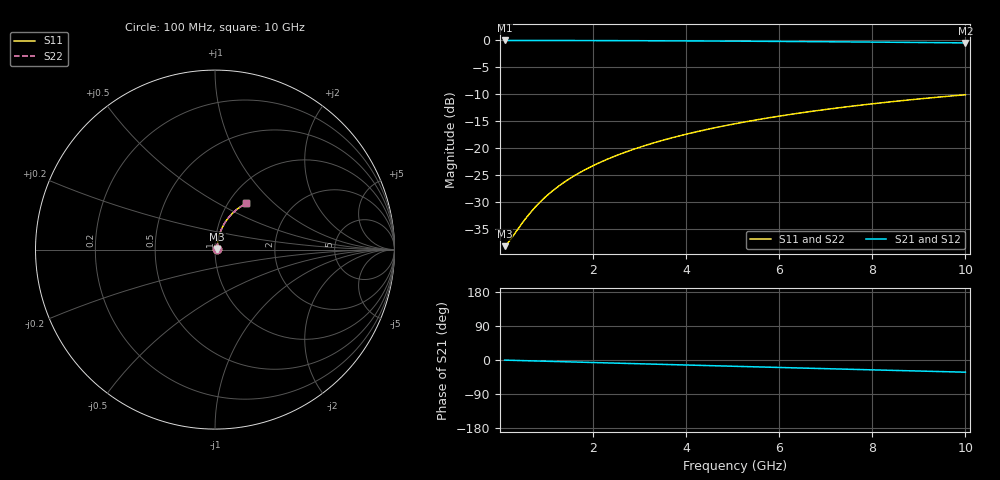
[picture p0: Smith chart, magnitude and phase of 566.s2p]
# Hz S RI R 50.00
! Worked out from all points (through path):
!   100 points, 100 MHz to 10 GHz, reference 50 ohm
!   highest |S21| = -0.10 dB at 100 MHz (marker M1); lowest = -0.6 dB at 10 GHz (marker M2)
!   group delay of S21, straight-line fit = 8.95 ps
!   lowest |S11| = -38.1 dB at 100 MHz (marker M3), VSWR 1.03, Z = 51.2 + j0.34 ohm
!   |S11| at or under -10 dB: start of sweep to end of sweep
!   |S22| runs from -38.1 to -10.1 dB; largest |S21 - S12| = 0
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1e8  0.0119 0.00332  0.9881 -0.00573  0.9881 -0.00573  0.0119 0.00332
2e8  0.0121 0.00664  0.9879 -0.0115  0.9879 -0.0115  0.0121 0.00664
5e8  0.0126 0.0166  0.9873 -0.0286  0.9873 -0.0286  0.0126 0.0166
6e8  0.0129 0.0199  0.987 -0.0344  0.987 -0.0344  0.0129 0.0199
7e8  0.0131 0.0232  0.9867 -0.0401  0.9867 -0.0401  0.0131 0.0232
9e8  0.0138 0.0298  0.9859 -0.0515  0.9859 -0.0515  0.0138 0.0298
1.1e9  0.0146 0.0364  0.985 -0.0629  0.985 -0.0629  0.0146 0.0364
1.3e9  0.0156 0.043  0.9839 -0.0743  0.9839 -0.0743  0.0156 0.043
1.5e9  0.0167 0.0495  0.9826 -0.0856  0.9826 -0.0856  0.0167 0.0495
1.8e9  0.0186 0.0592  0.9804 -0.1026  0.9804 -0.1026  0.0186 0.0592
2.1e9  0.0209 0.0689  0.9777 -0.1195  0.9777 -0.1195  0.0209 0.0689
2.5e9  0.0245 0.0816  0.9737 -0.1419  0.9737 -0.1419  0.0245 0.0816
2.9e9  0.0286 0.0941  0.9689 -0.164  0.9689 -0.164  0.0286 0.0941
3.4e9  0.0345 0.1094  0.9621 -0.1914  0.9621 -0.1914  0.0345 0.1094
3.8e9  0.0398 0.1214  0.9559 -0.213  0.9559 -0.213  0.0398 0.1214
4.2e9  0.0457 0.133  0.9491 -0.2343  0.9491 -0.2343  0.0457 0.133
5.1e9  0.0607 0.158  0.9316 -0.2811  0.9316 -0.2811  0.0607 0.158
5.9e9  0.0759 0.1787  0.9137 -0.3212  0.9137 -0.3212  0.0759 0.1787
6.7e9  0.0928 0.1977  0.8937 -0.3597  0.8937 -0.3597  0.0928 0.1977
7.5e9  0.1112 0.215  0.872 -0.3964  0.872 -0.3964  0.1112 0.215
8.4e9  0.1333 0.2323  0.8456 -0.4356  0.8456 -0.4356  0.1333 0.2323
1e10  0.1754 0.2569  0.7944 -0.4993  0.7944 -0.4993  0.1754 0.2569
